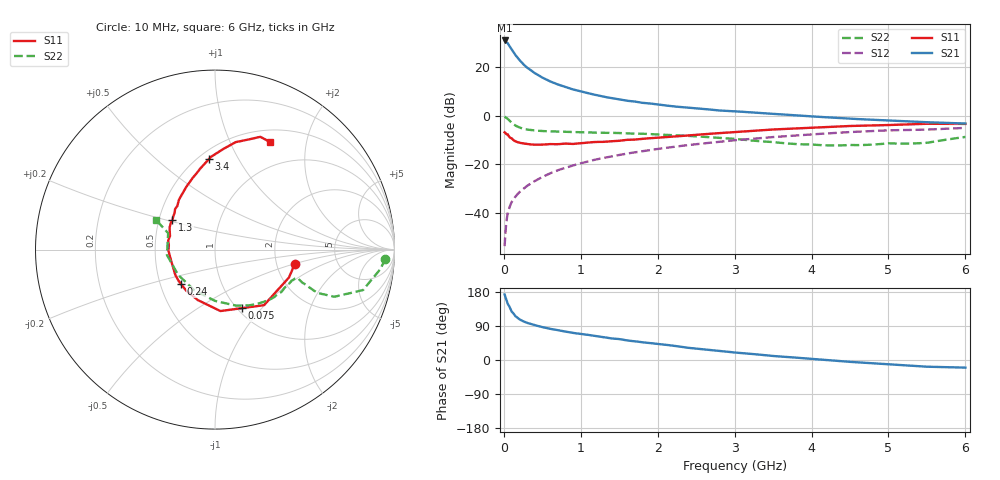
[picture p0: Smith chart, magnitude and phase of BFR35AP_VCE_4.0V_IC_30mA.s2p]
! Infineon Technologies  Discrete & RF Semiconductors
! BFR35AP
! VCE =  4.0 V,  IC =  30 mA
! Common Emitter S-Parameters:  Nov 2015
# GHz  S  MA  R  50
!  f  S11  S21  S12  S22
! GHz  MAG  ANG  MAG  ANG  MAG  ANG  MAG  ANG
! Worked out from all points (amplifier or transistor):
!   210 points, 10 MHz to 6 GHz, reference 50 ohm
!   highest |S21| = 30.8 dB at 10 MHz (marker M1)
!   |S21| within 3 dB of that: start of sweep to 87.09 MHz
!   unconditionally stable (mu >= 1): 262.9 MHz to 2.982 GHz
!   at 185 MHz: K = 0.87, MSG = 27.7 dB, |S12| = -32.0 dB
!   at 1.52 GHz: K = 1.14, MAG = 9.0 dB, |S12| = -16.1 dB
!   at 6 GHz: K = 0.98, MSG = 0.9 dB, |S12| = -5.1 dB
!   S11 on the Smith chart (normalised r, x): 10 MHz: 2.52, -0.52; 75 MHz: 1.05, -0.79; 240 MHz: 0.64, -0.26; 1.3 GHz: 0.59, +0.21; 3.4 GHz: 0.56, +0.76; 6 GHz: 0.65, +1.43
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0.01  0.4511 -10.5  34.55 172.9  0.0021 84.5  0.9506 -3.1
0.02  0.4404 -20.7  33.98 166.1  0.0038 82.6  0.9279 -6.7
0.05  0.4128 -48.6  30.32 148.6  0.0099 72.8  0.8549 -15.3
0.075  0.3596 -65.0  26.19 139.8  0.0133 69.3  0.7832 -18.2
0.1  0.3438 -84.9  22.87 128.2  0.0167 67.3  0.7138 -21.6
0.15  0.2972 -108.7  17.38 115.6  0.0217 66.8  0.6196 -22.9
0.2  0.2794 -124.9  13.89 107.8  0.0266 68.5  0.5712 -22.0
0.24  0.2698 -135.1  11.85 103.5  0.0301 69.2  0.5425 -21.2
0.3  0.2625 -147.3  9.635 97.9  0.0359 70.6  0.5168 -20.6
0.4  0.2526 -161.2  7.426 91.9  0.0451 72.1  0.4935 -19.3
0.5  0.2535 -170.7  5.991 86.8  0.0548 73.0  0.4801 -19.3
0.6  0.2597 -178.8  5.016 82.2  0.0651 73.1  0.4742 -19.9
0.7  0.2583 174.5  4.345 78.8  0.0754 73.1  0.4689 -20.9
0.9  0.2616 163.4  3.423 71.4  0.0952 71.8  0.4585 -22.9
1.02  0.2734 157.4  3.061 68.3  0.1071 71.2  0.4547 -24.7
1.3  0.2888 145.3  2.421 60.4  0.1354 69.0  0.4414 -29.3
2.02  0.3531 122.5  1.667 42.0  0.2086 62.0  0.4098 -43.3
3.1  0.4683 98.8  1.193 18.1  0.3208 48.9  0.3203 -73.2
3.4  0.5044 94.0  1.108 12.6  0.3511 44.9  0.2918 -85.4
4.1  0.5725 83.8  0.939 1.5  0.4198 35.3  0.2485 -122.2
5.1  0.6455 72.4  0.779 -12.6  0.5001 20.1  0.2665 -178.7
6  0.6732 62.8  0.685 -20.1  0.5579 8.9  0.3642 153.5
